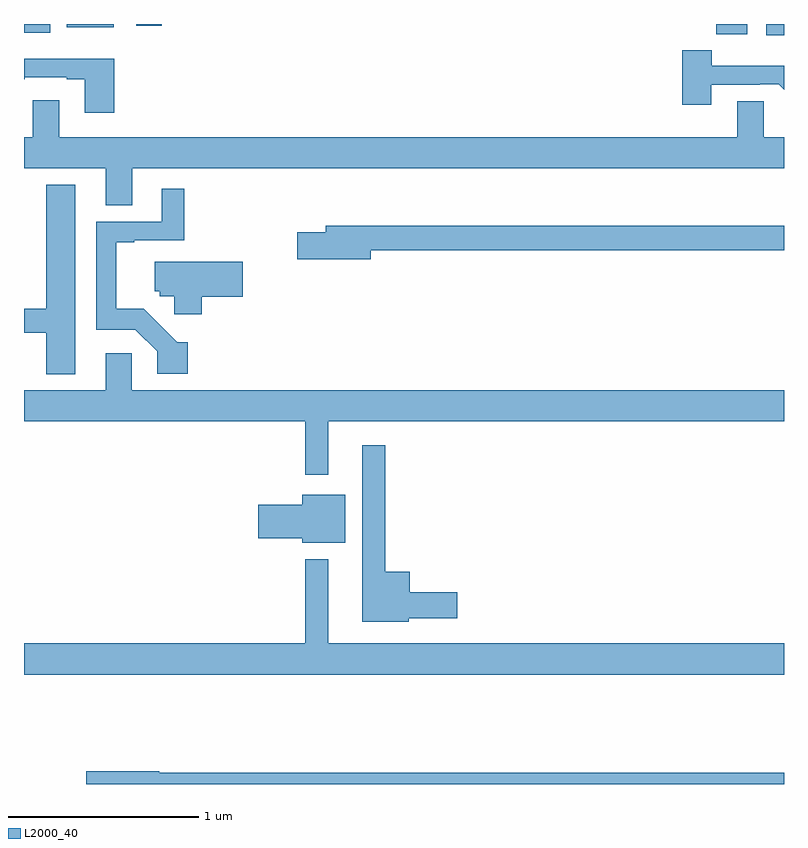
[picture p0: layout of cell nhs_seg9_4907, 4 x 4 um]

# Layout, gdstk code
import gdstk
lib = gdstk.Library(unit=1e-6, precision=1e-09)
def R(c, l, rs):  # rectangles x0, y0, x1, y1
    for r in rs: c.add(gdstk.rectangle(r[:2], r[2:], *l))
def P(c, l, *ps):  # polygons
    for p in ps: c.add(gdstk.Polygon(p, *l))
L2000_40 = (2000, 40)

nhs_seg9_4907 = lib.new_cell('nhs_seg9_4907')
R(nhs_seg9_4907, L2000_40, [(398.906,1210.44,399,1210.5), (398.644,1210.445,398.806,1210.5), (395,1210.454,395.137,1210.5), (395.225,1210.484,395.472,1210.5), (395.592,1210.49,395.725,1210.5)])
P(nhs_seg9_4907, L2000_40, [(398.617,1210.179),(398.873,1210.179),(398.873,1210.182),(398.972,1210.182),(399,1210.154),(399,1210.279),(398.62,1210.279),(398.62,1210.363),(398.465,1210.363),(398.465,1210.074),(398.617,1210.074)],
  [(395.474,1210.318),(395,1210.318),(395,1210.209),(395.005,1210.209),(395.005,1210.221),(395.225,1210.221),(395.225,1210.209),(395.321,1210.209),(395.321,1210.032),(395.474,1210.032)],
  [(395.569,1209.74),(399,1209.74),(399,1209.904),(398.893,1209.904),(398.893,1210.094),(398.753,1210.094),(398.753,1209.904),(395.185,1209.904),(395.185,1210.099),(395.045,1210.099),(395.045,1209.904),(395,1209.904),(395,1209.74),(395.429,1209.74),(395.429,1209.546),(395.569,1209.546)],
  [(395.269,1209.655),(395.117,1209.655),(395.117,1209.002),(395,1209.002),(395,1208.874),(395.117,1208.874),(395.117,1208.657),(395.269,1208.657)],
  [(395.861,1208.824),(395.807,1208.824),(395.629,1209.002),(395.485,1209.002),(395.485,1209.351),(395.581,1209.351),(395.581,1209.363),(395.843,1209.363),(395.843,1209.634),(395.726,1209.634),(395.726,1209.459),(395.381,1209.459),(395.381,1208.892),(395.586,1208.892),(395.7,1208.778),(395.7,1208.658),(395.861,1208.658)],
  [(396.826,1209.31),(399,1209.31),(399,1209.439),(396.587,1209.439),(396.587,1209.405),(396.438,1209.405),(396.438,1209.263),(396.826,1209.263)],
  [(395.936,1209.065),(396.151,1209.065),(396.151,1209.248),(395.919,1209.248),(395.919,1209.25),(395.687,1209.25),(395.687,1209.093),(395.715,1209.093),(395.715,1209.066),(395.79,1209.066),(395.79,1208.972),(395.936,1208.972)],
  [(396.601,1208.408),(399,1208.408),(399,1208.572),(395.568,1208.572),(395.568,1208.767),(395.429,1208.767),(395.429,1208.572),(395,1208.572),(395,1208.408),(396.48,1208.408),(396.48,1208.127),(396.601,1208.127)],
  [(397.026,1207.373),(397.279,1207.373),(397.279,1207.508),(397.03,1207.508),(397.03,1207.618),(396.901,1207.618),(396.901,1208.284),(396.779,1208.284),(396.779,1207.355),(397.026,1207.355)],
  [(396.691,1208.023),(396.464,1208.023),(396.464,1207.971),(396.234,1207.971),(396.234,1207.793),(396.464,1207.793),(396.464,1207.769),(396.691,1207.769)],
  [(399,1207.24),(396.601,1207.24),(396.601,1207.684),(396.48,1207.684),(396.48,1207.24),(395,1207.24),(395,1207.076),(399,1207.076)],
  [(399,1206.56),(395.712,1206.56),(395.712,1206.566),(395.328,1206.566),(395.328,1206.5),(399,1206.5)])

lib.write_gds('nhs_seg9_4907.gds')
